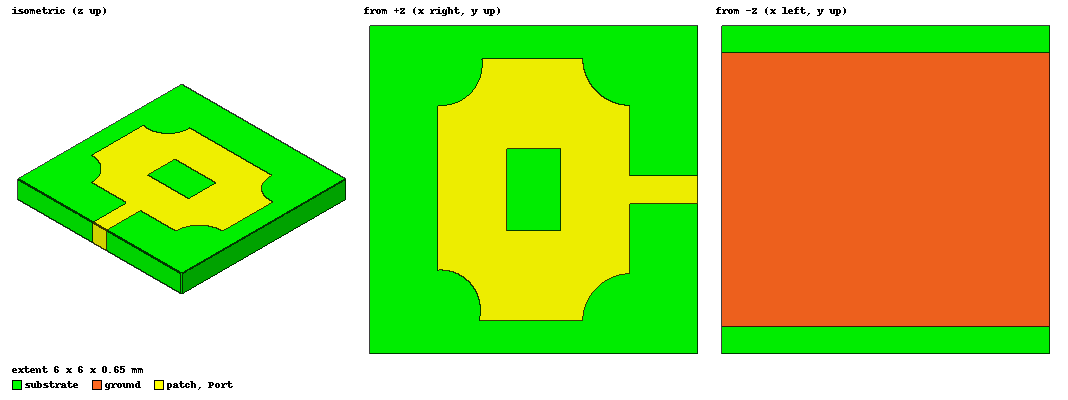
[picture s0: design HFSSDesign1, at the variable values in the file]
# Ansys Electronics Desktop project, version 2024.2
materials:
  vacuum: permittivity=1
  Rogers RT/duroid 5880 (tm): permittivity=2.2 dielectric_loss_tangent=0.0009

design HFSSDesign1 (HFSS, HFSS Terminal Network, model units mm)
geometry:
  ground = rectangle(corner=(-3mm, -2.5mm, 0mm), x_size=6mm, y_size=5mm)
  substrate [Rogers RT/duroid 5880 (tm)] = box(corner=(-3mm, -3mm, 0mm), size=(6mm, 6mm, 0.65mm))
  patch = rectangle(corner=(-1.76mm, -2.4mm, 0.65mm), x_size=3.52mm, y_size=4.8mm)
  Feed_line = rectangle(corner=(1mm, -0.25mm, 0.65mm), x_size=2mm, y_size=0.5mm)
  patch.unite(Feed_line)
  Port = rectangle(corner=(3mm, -0.25mm, 0.65mm), y_size=0.5mm, z_size=-0.65mm)
  Slot = rectangle(corner=(-0.5mm, -0.75mm, 0.65mm), x_size=1mm, y_size=1.5mm)
  patch.subtract(Slot)
  Circle1 = circle(normal=Z, centre=(-1.7mm, -2.2mm, 0.65mm), radius=0.72801099mm)
  patch.subtract(Circle1)
  Circle2 = circle(normal=Z, centre=(-1.7mm, 2.3mm, 0.65mm), radius=0.76157731mm)
  patch.subtract(Circle2)
  Circle3 = circle(normal=Z, centre=(1.76mm, -2.4mm, 0.65mm), radius=0.85883642mm)
  patch.subtract(Circle3)
  Circle4 = circle(normal=Z, centre=(1.76mm, 2.4mm, 0.65mm), radius=0.85883642mm)
  patch.subtract(Circle4)
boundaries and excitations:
  PerfE1: Perfect E Objects=[ground, patch]
  1: Lumped Port Objects=Port LumpedPortType=Modal Modes{Mode1{IntLine{(3, 0, 0) -> (3, 0, 0.65)} CharImp=Zpi RenormImp=50ohm}} Impedance=50ohm
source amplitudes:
  1:1: 1V 0deg
